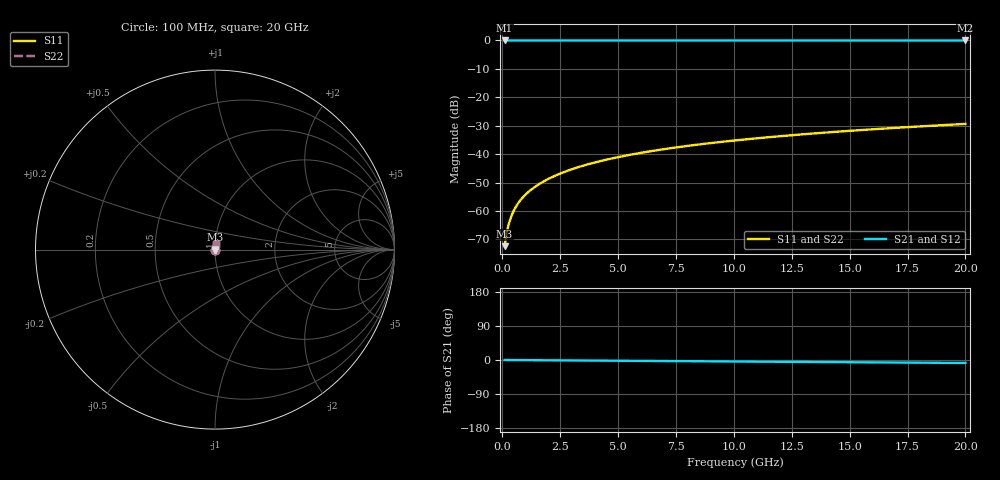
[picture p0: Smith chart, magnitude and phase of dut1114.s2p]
! Touchstone file exported from HFSS 2026.1.0
!  File:  C:/ffzhzh/LocalFiles/Ansys_Project_Files/temp_train_TSV_1114_1783190815_22436.aedt
!  Generated:  02:48:30 AM Jul  5, 2026
!  Design:  TSV
!  Project:  temp_train_TSV_1114_1783190815_22436
! Variables:
!  h_bsmrdl = 2um
!  h_ox = 20um
!  h_rdl = 5um
!  h_sub = 71.75um
!  h_tmrdl = 5um
!  h_tsv = 71.75um
!  h_via = 3um
!  l_bsmrdl = 300um
!  l_sub = 419.32um
!  l_tmrdl = 200um
!  m_sub = 200um
!  pitch = 52.44um
!  r_tsv = 9.66um
!  s_tmrdl = 10um
!  w_bsmrdl = 18um
!  w_sub = 500um
!  w_tmrdl = 12um
!  x_tsv_center1 = 206um
!  x_tsv_center2 = 524um
!  x_tsv_center3 = 736um
!  x_tsv_center4 = 1054um
!  x_tsv_center5 = 1266um
!  x_tsv_center6 = 1584um
# GHz S MA R 50.000000
! Terminal data exported
! Port[1] = TSV1_1_T1
! Port[2] = TSV1_1_T2
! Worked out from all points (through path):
!   200 points, 100 MHz to 20 GHz, reference 50 ohm
!   highest |S21| = 0.00 dB at 100 MHz (marker M1); lowest = 0.0 dB at 20 GHz (marker M2)
!   group delay of S21, straight-line fit = 1.09 ps
!   lowest |S11| = -72.4 dB at 100 MHz (marker M3), VSWR 1.00, Z = 50 + j0.0208 ohm
!   |S11| at or under -10 dB: start of sweep to end of sweep
!   |S22| runs from -72.4 to -29.4 dB; largest |S21 - S12| = 3.2e-15
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0.1  0.000241 59.7  0.9999 -0.0  0.9999 -0.0  0.000241 59.7
! Gamma 0 0 0 0
! Port Impedance 50 0 50 0
0.2  0.0004346 72.3  0.9999 -0.1  0.9999 -0.1  0.0004346 72.3
0.3  0.0006336 76.6  0.9999 -0.1  0.9999 -0.1  0.0006336 76.6
0.4  0.0008306 78.4  0.9998 -0.2  0.9998 -0.2  0.0008306 78.4
0.5  0.001024 79.4  0.9998 -0.2  0.9998 -0.2  0.001024 79.4
0.6  0.001213 80.1  0.9998 -0.2  0.9998 -0.2  0.001213 80.1
0.7  0.001398 80.5  0.9998 -0.3  0.9998 -0.3  0.001398 80.5
0.8  0.00158 80.8  0.9998 -0.3  0.9998 -0.3  0.00158 80.8
1  0.001939 81.4  0.9997 -0.4  0.9997 -0.4  0.001939 81.4
1.4  0.002641 82.3  0.9997 -0.6  0.9997 -0.6  0.002641 82.3
1.7  0.003164 82.8  0.9996 -0.7  0.9996 -0.7  0.003164 82.8
2  0.003686 83.3  0.9996 -0.8  0.9996 -0.8  0.003686 83.3
2.7  0.004903 83.9  0.9996 -1.1  0.9996 -1.1  0.004903 83.9
3.5  0.00629 84.2  0.9995 -1.4  0.9995 -1.4  0.00629 84.2
4.2  0.007498 84.3  0.9994 -1.7  0.9994 -1.7  0.007498 84.3
5  0.008873 84.3  0.9994 -2.0  0.9994 -2.0  0.008873 84.3
6.8  0.01194 84.0  0.9992 -2.7  0.9992 -2.7  0.01194 84.0
8.3  0.01449 83.7  0.9991 -3.3  0.9991 -3.3  0.01449 83.7
10.1  0.01752 83.3  0.999 -4.0  0.999 -4.0  0.01752 83.3
13.4  0.02307 82.4  0.9988 -5.3  0.9988 -5.3  0.02307 82.4
16.7  0.02857 81.3  0.9985 -6.5  0.9985 -6.5  0.02857 81.3
20  0.03403 80.2  0.9982 -7.8  0.9982 -7.8  0.03403 80.2
